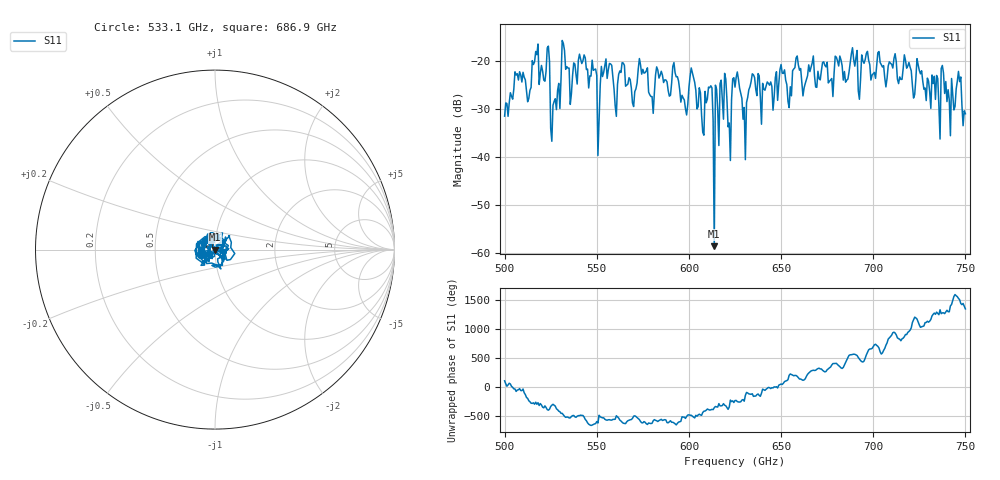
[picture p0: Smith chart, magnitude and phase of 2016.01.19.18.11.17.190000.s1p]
!Created with skrf (http://scikit-rf.org).
# GHz S RI R 50.0
!freq ReS11 ImS11
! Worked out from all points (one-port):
!   401 points, 500 GHz to 750 GHz, reference 50 ohm
!   lowest |S11| = -58.5 dB at 613.8 GHz (marker M1), VSWR 1.00, Z = 50.1 + j0.00918 ohm
!   |S11| at or under -10 dB: start of sweep to end of sweep
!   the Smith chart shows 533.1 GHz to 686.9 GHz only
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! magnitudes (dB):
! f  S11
! 500 GHz  -31.5
! 506.9 GHz  -22.7
! 513.1 GHz  -27.8
! 516.9 GHz  -18.1
! 523.1 GHz  -17.3
! 526.2 GHz  -29.2
! 531.2 GHz  -15.8
! 548.8 GHz  -21.8
! 550.6 GHz  -39.7
! 553.8 GHz  -22.4
! 562.5 GHz  -22.1
! 593.8 GHz  -23.3
! 598.1 GHz  -30.0
! 601.9 GHz  -22.5
! 608.1 GHz  -35.4
! 611.2 GHz  -25.6
! 613.8 GHz  -58.5
! 618.8 GHz  -32.1
! 621.9 GHz  -32.9
! 625 GHz  -25.5
! 630 GHz  -29.7
! 634.4 GHz  -22.7
! 656.2 GHz  -22.0
! 687.5 GHz  -20.5
! 718.8 GHz  -21.1
! 743.1 GHz  -27.1
! 746.2 GHz  -22.2
! 750 GHz  -31.0
